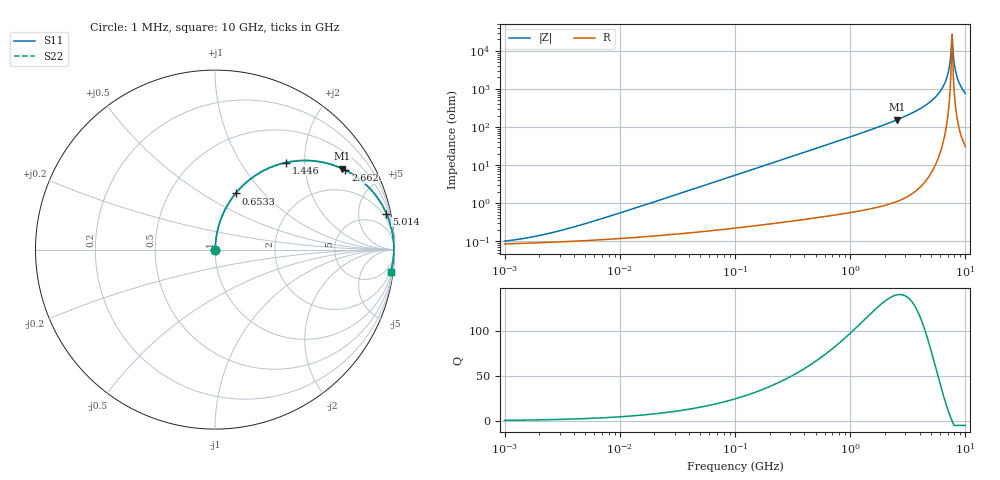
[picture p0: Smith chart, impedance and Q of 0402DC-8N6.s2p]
# MHz  S  MA  R  50
!Freq  MagS11  AngS11  MagS21  AngS21  MagS12  AngS12  MagS22  AngS22
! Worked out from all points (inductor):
!   801 points, 1 MHz to 10 GHz, reference 50 ohm
!   read as one part in series: L = 8.6 nH near 5.957 MHz
!   highest Q = 140 at 2.571 GHz (marker M1), where L = 9.69 nH
!   self-resonance near 7.589 GHz
!   S11 on the Smith chart (normalised r, x): 1 MHz: 1.00, +0.00; 653.3 MHz: 1.01, +0.71; 1.446 GHz: 1.01, +1.62; 2.662 GHz: 1.02, +3.27; 5.014 GHz: 1.12, +9.48; 10 GHz: 2, -15
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1  0.001007 32.4  0.9991 -0.0  0.9991 -0.0  0.001007 32.4
2.06545  0.001443 50.5  0.9991 -0.1  0.9991 -0.1  0.001443 50.5
4.67769  0.002725 67.8  0.999 -0.1  0.999 -0.1  0.002725 67.8
21.6303  0.01175 82.5  0.9985 -0.7  0.9985 -0.7  0.01175 82.5
100.0216  0.0539 84.6  0.9963 -3.1  0.9963 -3.1  0.0539 84.6
467.8699  0.2451 74.9  0.9657 -14.2  0.9657 -14.2  0.2451 74.9
653.329  0.3337 69.8  0.9383 -19.5  0.9383 -19.5  0.3337 69.8
1445.933  0.6269 50.7  0.7737 -38.8  0.7737 -38.8  0.6269 50.7
2163.497  0.783 38.0  0.6163 -51.5  0.6163 -51.5  0.783 38.0
2571.342  0.8401 32.4  0.5365 -57.1  0.5365 -57.1  0.8401 32.4
2661.709  0.8505 31.3  0.5199 -58.3  0.5199 -58.3  0.8505 31.3
5013.874  0.976 11.9  0.2059 -77.4  0.2059 -77.4  0.976 11.9
5890.832  0.9891 7.3  0.127 -81.5  0.127 -81.5  0.9891 7.3
6609.658  0.9944 4.1  0.07119 -83.5  0.07119 -83.5  0.9944 4.1
7082.399  0.9961 2.2  0.03792 -82.9  0.03792 -82.9  0.9961 2.2
7416.199  0.9965 0.9  0.01596 -76.8  0.01596 -76.8  0.9965 0.9
7676.832  0.9964 -0.1  0.003698 16.2  0.003698 16.2  0.9964 -0.1
7946.626  0.9961 -1.0  0.01805 77.1  0.01805 77.1  0.9961 -1.0
8225.901  0.9955 -2.0  0.03451 81.6  0.03451 81.6  0.9955 -2.0
8613.594  0.9943 -3.2  0.05662 82.6  0.05662 82.6  0.9943 -3.2
9229.662  0.9914 -5.2  0.08989 81.9  0.08989 81.9  0.9914 -5.2
10000  0.9865 -7.4  0.1286 80.3  0.1286 80.3  0.9865 -7.4
